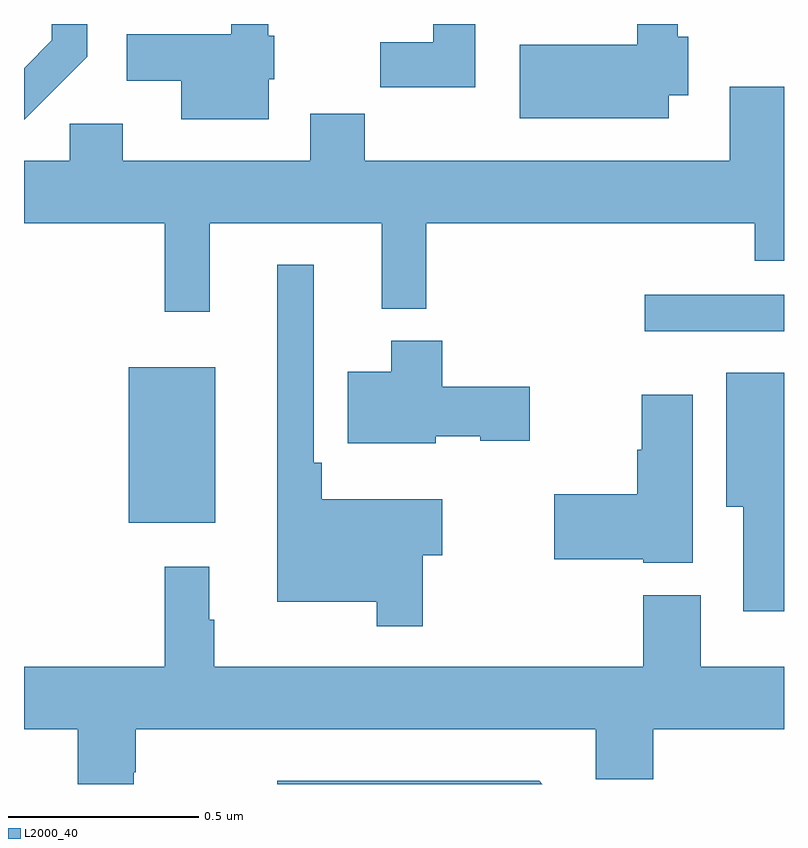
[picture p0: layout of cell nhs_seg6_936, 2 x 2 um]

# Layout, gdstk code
import gdstk
lib = gdstk.Library(unit=1e-6, precision=1e-09)
def R(c, l, rs):  # rectangles x0, y0, x1, y1
    for r in rs: c.add(gdstk.rectangle(r[:2], r[2:], *l))
def P(c, l, *ps):  # polygons
    for p in ps: c.add(gdstk.Polygon(p, *l))
L2000_40 = (2000, 40)

nhs_seg6_936 = lib.new_cell('nhs_seg6_936')
R(nhs_seg6_936, L2000_40, [(122.276,973.187,122.503,973.597), (123.633,973.692,124,973.788)])
P(nhs_seg6_936, L2000_40, [(123.697,974.312),(123.748,974.312),(123.748,974.466),(123.721,974.466),(123.721,974.5),(123.614,974.5),(123.614,974.446),(123.305,974.446),(123.305,974.252),(123.697,974.252)],
  [(122.166,974.414),(122.166,974.5),(122.073,974.5),(122.073,974.457),(122,974.384),(122,974.248)],
  [(123.187,974.5),(123.077,974.5),(123.077,974.452),(122.938,974.452),(122.938,974.334),(123.187,974.334)],
  [(122.644,974.355),(122.659,974.355),(122.659,974.469),(122.643,974.469),(122.643,974.5),(122.546,974.5),(122.546,974.473),(122.271,974.473),(122.271,974.351),(122.414,974.351),(122.414,974.249),(122.644,974.249)],
  [(122.489,973.976),(122.942,973.976),(122.942,973.751),(123.059,973.751),(123.059,973.976),(123.923,973.976),(123.923,973.877),(124,973.877),(124,974.335),(123.857,974.335),(123.857,974.14),(122.897,974.14),(122.897,974.264),(122.753,974.264),(122.753,974.14),(122.26,974.14),(122.26,974.238),(122.121,974.238),(122.121,974.14),(122,974.14),(122,973.976),(122.371,973.976),(122.371,973.743),(122.489,973.743)],
  [(123.049,973.102),(123.1,973.102),(123.1,973.249),(122.783,973.249),(122.783,973.345),(122.763,973.345),(122.763,973.867),(122.666,973.867),(122.666,972.98),(122.928,972.98),(122.928,972.915),(123.049,972.915)],
  [(123.084,973.415),(123.201,973.415),(123.201,973.403),(123.331,973.403),(123.331,973.545),(123.101,973.545),(123.101,973.666),(122.966,973.666),(122.966,973.585),(122.852,973.585),(122.852,973.397),(123.084,973.397)],
  [(124,973.582),(123.848,973.582),(123.848,973.229),(123.893,973.229),(123.893,972.954),(124,972.954)],
  [(123.76,973.525),(123.626,973.525),(123.626,973.379),(123.614,973.379),(123.614,973.262),(123.396,973.262),(123.396,973.091),(123.63,973.091),(123.63,973.082),(123.76,973.082)],
  [(122.289,972.531),(122.294,972.531),(122.294,972.644),(123.504,972.644),(123.504,972.513),(123.656,972.513),(123.656,972.644),(124,972.644),(124,972.808),(123.781,972.808),(123.781,972.997),(123.629,972.997),(123.629,972.808),(122.5,972.808),(122.5,972.932),(122.488,972.932),(122.488,973.072),(122.371,973.072),(122.371,972.808),(122,972.808),(122,972.644),(122.141,972.644),(122.141,972.5),(122.289,972.5)],
  [(123.356,972.508),(122.667,972.508),(122.667,972.5),(123.364,972.5)])

lib.write_gds('nhs_seg6_936.gds')
